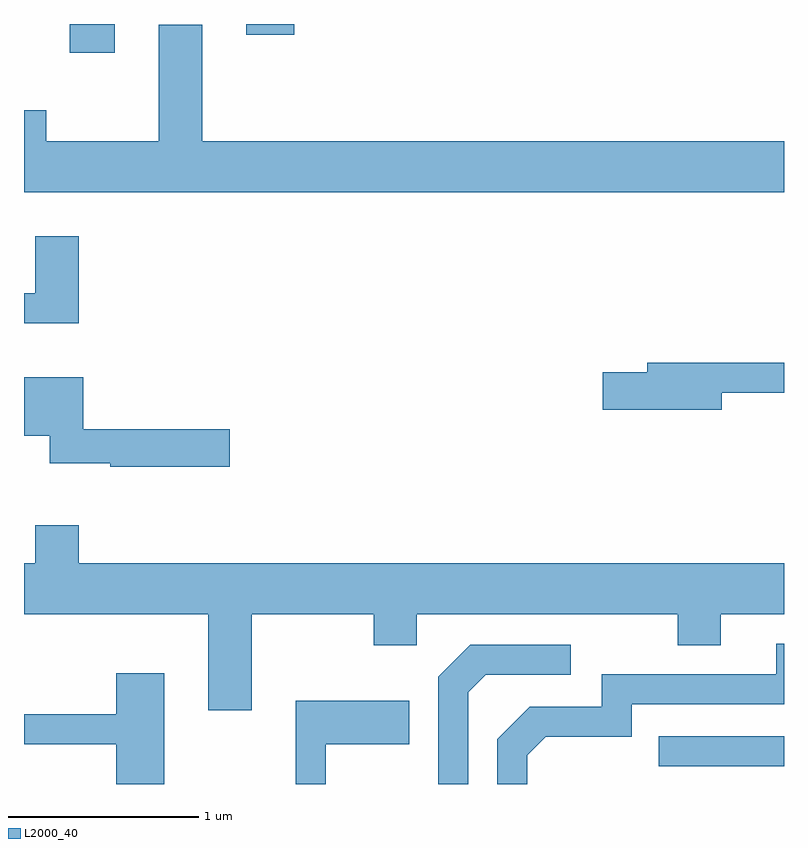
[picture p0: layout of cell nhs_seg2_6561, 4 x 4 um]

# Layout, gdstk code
import gdstk
lib = gdstk.Library(unit=1e-6, precision=1e-09)
def R(c, l, rs):  # rectangles x0, y0, x1, y1
    for r in rs: c.add(gdstk.rectangle(r[:2], r[2:], *l))
def P(c, l, *ps):  # polygons
    for p in ps: c.add(gdstk.Polygon(p, *l))
L2000_40 = (2000, 40)

nhs_seg2_6561 = lib.new_cell('nhs_seg2_6561')
R(nhs_seg2_6561, L2000_40, [(380.953,1111.896,381.611,1112.054), (377.853,1115.651,378.089,1115.802), (378.781,1115.746,379.034,1115.802)])
P(nhs_seg2_6561, L2000_40, [(381.611,1115.184),(378.549,1115.184),(378.549,1115.799),(378.321,1115.799),(378.321,1115.184),(377.729,1115.184),(377.729,1115.349),(377.611,1115.349),(377.611,1114.916),(381.611,1114.916)],
  [(377.899,1114.684),(377.671,1114.684),(377.671,1114.384),(377.611,1114.384),(377.611,1114.226),(377.899,1114.226)],
  [(381.284,1113.861),(381.611,1113.861),(381.611,1114.019),(380.891,1114.019),(380.891,1113.969),(380.656,1113.969),(380.656,1113.771),(381.284,1113.771)],
  [(378.694,1113.669),(377.924,1113.669),(377.924,1113.944),(377.611,1113.944),(377.611,1113.636),(377.746,1113.636),(377.746,1113.491),(378.066,1113.491),(378.066,1113.471),(378.694,1113.471)],
  [(378.809,1112.696),(379.451,1112.696),(379.451,1112.531),(379.679,1112.531),(379.679,1112.696),(381.051,1112.696),(381.051,1112.531),(381.279,1112.531),(381.279,1112.696),(381.611,1112.696),(381.611,1112.964),(377.899,1112.964),(377.899,1113.164),(377.671,1113.164),(377.671,1112.964),(377.611,1112.964),(377.611,1112.696),(378.581,1112.696),(378.581,1112.191),(378.809,1112.191)],
  [(380.259,1111.954),(380.357,1112.051),(380.809,1112.051),(380.809,1112.221),(381.611,1112.221),(381.611,1112.539),(381.571,1112.539),(381.571,1112.379),(380.651,1112.379),(380.651,1112.209),(380.274,1112.209),(380.101,1112.037),(380.101,1111.802),(380.259,1111.802)],
  [(379.949,1112.284),(380.042,1112.376),(380.488,1112.376),(380.488,1112.534),(379.959,1112.534),(379.791,1112.367),(379.791,1111.802),(379.949,1111.802)],
  [(378.349,1112.384),(378.096,1112.384),(378.096,1112.169),(377.611,1112.169),(377.611,1112.011),(378.096,1112.011),(378.096,1111.802),(378.349,1111.802)],
  [(379.199,1112.011),(379.639,1112.011),(379.639,1112.239),(379.041,1112.239),(379.041,1111.802),(379.199,1111.802)])

lib.write_gds('nhs_seg2_6561.gds')
